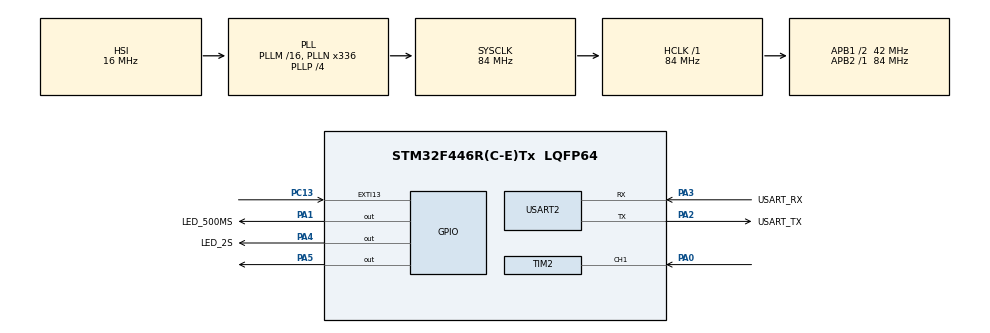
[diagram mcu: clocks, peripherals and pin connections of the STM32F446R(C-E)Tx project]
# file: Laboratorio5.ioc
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Mcu.Family=STM32F4
Mcu.Name=STM32F446R(C-E)Tx
Mcu.Package=LQFP64
NUCLEO-F446RE.BUTTON=1
NUCLEO-F446RE.LD1=true
NVIC.EXTI15_10_IRQn=true\:0\:0\:false\:false\:true\:false\:true\:true
NVIC.PriorityGroup=NVIC_PRIORITYGROUP_0
NVIC.TIM2_IRQn=true\:0\:0\:false\:false\:true\:true\:true\:true
NVIC.TIM3_IRQn=true\:0\:0\:false\:false\:true\:true\:true\:true
NVIC.TIM4_IRQn=true\:0\:0\:false\:false\:true\:true\:true\:true
PA0-WKUP.Signal=S_TIM2_CH1_ETR
PA1.GPIO_Label=LED_500MS
PA1.Signal=GPIO_Output
PA13.GPIO_Label=TMS
PA13.Signal=SYS_JTMS-SWDIO
PA14.GPIO_Label=TCK
PA14.Signal=SYS_JTCK-SWCLK
PA2.GPIO_Label=USART_TX
PA2.Mode=Asynchronous
PA2.Signal=USART2_TX
PA3.GPIO_Label=USART_RX
PA3.Mode=Asynchronous
PA3.Signal=USART2_RX
PA4.GPIO_Label=LED_2S
PA4.Signal=GPIO_Output
PA5.Signal=GPIO_Output
PB3.GPIO_Label=SWO
PB3.Signal=SYS_JTDO-SWO
PC13.Signal=GPXTI13
PC14-OSC32_IN.Signal=RCC_OSC32_IN
PC15-OSC32_OUT.Signal=RCC_OSC32_OUT
PH0-OSC_IN.Signal=RCC_OSC_IN
PH1-OSC_OUT.Signal=RCC_OSC_OUT
ProjectManager.HeapSize=0x200
ProjectManager.StackSize=0x400
ProjectManager.TargetToolchain=STM32CubeIDE
RCC.AHBFreq_Value=84000000
RCC.APB1CLKDivider=RCC_HCLK_DIV2
RCC.APB1Freq_Value=42000000
RCC.APB1TimFreq_Value=84000000
RCC.APB2Freq_Value=84000000
RCC.APB2TimFreq_Value=84000000
RCC.CortexFreq_Value=84000000
RCC.FLatency-AdvancedSettings=FLASH_LATENCY_2
RCC.HCLKFreq_Value=84000000
RCC.HSE_VALUE=8000000
RCC.HSI_VALUE=16000000
RCC.LSE_VALUE=32768
RCC.PLLN=336
RCC.PLLP=RCC_PLLP_DIV4
RCC.SYSCLKFreq_VALUE=84000000
RCC.SYSCLKSource=RCC_SYSCLKSOURCE_PLLCLK
RCC.USBFreq_Value=168000000
RCC.VCOOutputFreq_Value=336000000
SH.S_TIM2_CH1_ETR.0=TIM2_CH1,Input_Capture1_from_TI1
TIM2.Channel-Input_Capture1_from_TI1=TIM_CHANNEL_1
TIM3.Period=2499
TIM3.Prescaler=8399
TIM4.Period=9999
TIM4.Prescaler=8399
USART2.VirtualMode=VM_ASYNC
VP_NUCLEO-F446RE_VS_BSP_COMMON.Mode=COMMON
VP_TIM3_VS_ClockSourceINT.Mode=Internal
VP_TIM4_VS_ClockSourceINT.Mode=Internal
board=NUCLEO-F446RE

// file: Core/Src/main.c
/* USER CODE BEGIN Header */
/**
  ******************************************************************************
  * @file           : main.c
  * @brief          : Main program body
  ******************************************************************************
  * @attention
  *
  * Copyright (c) 2026 STMicroelectronics.
  * All rights reserved.
  *
  * This software is licensed under terms that can be found in the LICENSE file
  * in the root directory of this software component.
  * If no LICENSE file comes with this software, it is provided AS-IS.
  *
  ******************************************************************************
  */
/* USER CODE END Header */
#include "main.h"

/* USER CODE BEGIN Includes */
#include <stdio.h>
/* USER CODE END Includes */

/* USER CODE BEGIN PD */
#define TIMER_CLK_HZ  84000000UL   /* reloj de TIM2 con la configuración de clock */
/* USER CODE END PD */

TIM_HandleTypeDef htim2;
TIM_HandleTypeDef htim3;
TIM_HandleTypeDef htim4;

UART_HandleTypeDef huart2;

/* USER CODE BEGIN PV */
/* USER CODE BEGIN PV */
volatile uint32_t valor_anterior = 0;
volatile uint8_t primera_captura = 0;
volatile float frecuencia_hz = 0.0f;
volatile uint8_t nueva_frecuencia_lista = 0;

uint32_t ultimo_envio_uart = 0;
/* USER CODE END PV */

void SystemClock_Config(void);
static void MX_GPIO_Init(void);
static void MX_TIM2_Init(void);
static void MX_USART2_UART_Init(void);
static void MX_TIM3_Init(void);
static void MX_TIM4_Init(void);

/* USER CODE BEGIN 0 */
void HAL_TIM_IC_CaptureCallback(TIM_HandleTypeDef *htim)
{
    if (htim->Instance == TIM2 && htim->Channel == HAL_TIM_ACTIVE_CHANNEL_1)
    {
        uint32_t valor_actual = HAL_TIM_ReadCapturedValue(htim, TIM_CHANNEL_1);

        if (!primera_captura)
        {
            /* primera captura: solo guardamos referencia, todavía no hay período */
            valor_anterior  = valor_actual;
            primera_captura = 1;
        }
        else
        {
            uint32_t diferencia;
            if (valor_actual > valor_anterior)
            {
                diferencia = valor_actual - valor_anterior;
            }
            else
            {
                /* el contador de 32 bits dio la vuelta (overflow) */
                diferencia = (0xFFFFFFFFu - valor_anterior) + valor_actual + 1u;
            }

            if (diferencia > 0)
            {
                frecuencia_hz = (float)TIMER_CLK_HZ / (float)diferencia;
                nueva_frecuencia_lista = 1;
            }
            valor_anterior = valor_actual;
        }
    }
}
void HAL_TIM_PeriodElapsedCallback(TIM_HandleTypeDef *htim)
{
    if (htim->Instance == TIM3)
    {
        HAL_GPIO_TogglePin(LED_500MS_GPIO_Port, LED_500MS_Pin);
    }
    else if (htim->Instance == TIM4)
    {
        HAL_GPIO_TogglePin(LED_2S_GPIO_Port, LED_2S_Pin);
    }
}
/* USER CODE END 0 */

int main(void)
{

  /* MCU Configuration--------------------------------------------------------*/

  /* Reset of all peripherals, Initializes the Flash interface and the Systick. */
  HAL_Init();

  /* Configure the system clock */
  SystemClock_Config();

  /* Initialize all configured peripherals */
  MX_GPIO_Init();
  MX_TIM2_Init();
  MX_USART2_UART_Init();
  MX_TIM3_Init();
  MX_TIM4_Init();
  /* USER CODE BEGIN 2 */
  const char mensaje_inicio[] =
      "UART funcionando correctamente\r\n";

  HAL_UART_Transmit(
      &huart2,
      (uint8_t *)mensaje_inicio,
      sizeof(mensaje_inicio) - 1,
      100U
  );
  HAL_TIM_Base_Start_IT(&htim3);
  HAL_TIM_Base_Start_IT(&htim4);
  /* USER CODE END 2 */

  /* Initialize leds */
  BSP_LED_Init(LED2);

  /* Initialize USER push-button, will be used to trigger an interrupt each time it's pressed.*/
  BSP_PB_Init(BUTTON_USER, BUTTON_MODE_EXTI);

  /* Infinite loop */
  while (1)
  {

    /* USER CODE BEGIN 3 */
	  if (nueva_frecuencia_lista &&
	          (HAL_GetTick() - ultimo_envio_uart >= 500U))
	      {
	          float frecuencia_copia;

	          __disable_irq();
	          frecuencia_copia = frecuencia_hz;
	          nueva_frecuencia_lista = 0;
	          __enable_irq();

	          ultimo_envio_uart = HAL_GetTick();

	          uint32_t frecuencia_entera =
	              (uint32_t)(frecuencia_copia + 0.5f);

	          char mensaje[64];

	          int longitud = snprintf(
	              mensaje,
	              sizeof(mensaje),
	              "Frecuencia: %lu Hz\r\n",
	              (unsigned long)frecuencia_entera
	          );

	          if (longitud > 0)
	          {
	              HAL_UART_Transmit(
	                  &huart2,
	                  (uint8_t *)mensaje,
	                  (uint16_t)longitud,
	                  100U
	              );
	          }
	      }
  }
  /* USER CODE END 3 */
}

void SystemClock_Config(void)
{
  RCC_OscInitTypeDef RCC_OscInitStruct = {0};
  RCC_ClkInitTypeDef RCC_ClkInitStruct = {0};

  /** Configure the main internal regulator output voltage
  */
  __HAL_RCC_PWR_CLK_ENABLE();
  __HAL_PWR_VOLTAGESCALING_CONFIG(PWR_REGULATOR_VOLTAGE_SCALE3);

  /** Initializes the RCC Oscillators according to the specified parameters
  * in the RCC_OscInitTypeDef structure.
  */
  RCC_OscInitStruct.OscillatorType = RCC_OSCILLATORTYPE_HSI;
  RCC_OscInitStruct.HSIState = RCC_HSI_ON;
  RCC_OscInitStruct.HSICalibrationValue = RCC_HSICALIBRATION_DEFAULT;
  RCC_OscInitStruct.PLL.PLLState = RCC_PLL_ON;
  RCC_OscInitStruct.PLL.PLLSource = RCC_PLLSOURCE_HSI;
  RCC_OscInitStruct.PLL.PLLM = 16;
  RCC_OscInitStruct.PLL.PLLN = 336;
  RCC_OscInitStruct.PLL.PLLP = RCC_PLLP_DIV4;
  RCC_OscInitStruct.PLL.PLLQ = 2;
  RCC_OscInitStruct.PLL.PLLR = 2;
  if (HAL_RCC_OscConfig(&RCC_OscInitStruct) != HAL_OK)
  {
    Error_Handler();
  }

  /** Initializes the CPU, AHB and APB buses clocks
  */
  RCC_ClkInitStruct.ClockType = RCC_CLOCKTYPE_HCLK|RCC_CLOCKTYPE_SYSCLK
                              |RCC_CLOCKTYPE_PCLK1|RCC_CLOCKTYPE_PCLK2;
  RCC_ClkInitStruct.SYSCLKSource = RCC_SYSCLKSOURCE_PLLCLK;
  RCC_ClkInitStruct.AHBCLKDivider = RCC_SYSCLK_DIV1;
  RCC_ClkInitStruct.APB1CLKDivider = RCC_HCLK_DIV2;
  RCC_ClkInitStruct.APB2CLKDivider = RCC_HCLK_DIV1;

  if (HAL_RCC_ClockConfig(&RCC_ClkInitStruct, FLASH_LATENCY_2) != HAL_OK)
  {
    Error_Handler();
  }
}

static void MX_TIM2_Init(void)
{

  TIM_MasterConfigTypeDef sMasterConfig = {0};
  TIM_IC_InitTypeDef sConfigIC = {0};

  htim2.Instance = TIM2;
  htim2.Init.Prescaler = 0;
  htim2.Init.CounterMode = TIM_COUNTERMODE_UP;
  htim2.Init.Period = 4294967295;
  htim2.Init.ClockDivision = TIM_CLOCKDIVISION_DIV1;
  htim2.Init.AutoReloadPreload = TIM_AUTORELOAD_PRELOAD_DISABLE;
  if (HAL_TIM_IC_Init(&htim2) != HAL_OK)
  {
    Error_Handler();
  }
  sMasterConfig.MasterOutputTrigger = TIM_TRGO_RESET;
  sMasterConfig.MasterSlaveMode = TIM_MASTERSLAVEMODE_DISABLE;
  if (HAL_TIMEx_MasterConfigSynchronization(&htim2, &sMasterConfig) != HAL_OK)
  {
    Error_Handler();
  }
  sConfigIC.ICPolarity = TIM_INPUTCHANNELPOLARITY_RISING;
  sConfigIC.ICSelection = TIM_ICSELECTION_DIRECTTI;
  sConfigIC.ICPrescaler = TIM_ICPSC_DIV1;
  sConfigIC.ICFilter = 0;
  if (HAL_TIM_IC_ConfigChannel(&htim2, &sConfigIC, TIM_CHANNEL_1) != HAL_OK)
  {
    Error_Handler();
  }

}

static void MX_TIM3_Init(void)
{

  TIM_ClockConfigTypeDef sClockSourceConfig = {0};
  TIM_MasterConfigTypeDef sMasterConfig = {0};

  htim3.Instance = TIM3;
  htim3.Init.Prescaler = 8399;
  htim3.Init.CounterMode = TIM_COUNTERMODE_UP;
  htim3.Init.Period = 2499;
  htim3.Init.ClockDivision = TIM_CLOCKDIVISION_DIV1;
  htim3.Init.AutoReloadPreload = TIM_AUTORELOAD_PRELOAD_DISABLE;
  if (HAL_TIM_Base_Init(&htim3) != HAL_OK)
  {
    Error_Handler();
  }
  sClockSourceConfig.ClockSource = TIM_CLOCKSOURCE_INTERNAL;
  if (HAL_TIM_ConfigClockSource(&htim3, &sClockSourceConfig) != HAL_OK)
  {
    Error_Handler();
  }
  sMasterConfig.MasterOutputTrigger = TIM_TRGO_RESET;
  sMasterConfig.MasterSlaveMode = TIM_MASTERSLAVEMODE_DISABLE;
  if (HAL_TIMEx_MasterConfigSynchronization(&htim3, &sMasterConfig) != HAL_OK)
  {
    Error_Handler();
  }

}

static void MX_TIM4_Init(void)
{

  TIM_ClockConfigTypeDef sClockSourceConfig = {0};
  TIM_MasterConfigTypeDef sMasterConfig = {0};

  htim4.Instance = TIM4;
  htim4.Init.Prescaler = 8399;
  htim4.Init.CounterMode = TIM_COUNTERMODE_UP;
  htim4.Init.Period = 9999;
  htim4.Init.ClockDivision = TIM_CLOCKDIVISION_DIV1;
  htim4.Init.AutoReloadPreload = TIM_AUTORELOAD_PRELOAD_DISABLE;
  if (HAL_TIM_Base_Init(&htim4) != HAL_OK)
  {
    Error_Handler();
  }
  sClockSourceConfig.ClockSource = TIM_CLOCKSOURCE_INTERNAL;
  if (HAL_TIM_ConfigClockSource(&htim4, &sClockSourceConfig) != HAL_OK)
  {
    Error_Handler();
  }
  sMasterConfig.MasterOutputTrigger = TIM_TRGO_RESET;
  sMasterConfig.MasterSlaveMode = TIM_MASTERSLAVEMODE_DISABLE;
  if (HAL_TIMEx_MasterConfigSynchronization(&htim4, &sMasterConfig) != HAL_OK)
  {
    Error_Handler();
  }

}

static void MX_USART2_UART_Init(void)
{

  huart2.Instance = USART2;
  huart2.Init.BaudRate = 115200;
  huart2.Init.WordLength = UART_WORDLENGTH_8B;
  huart2.Init.StopBits = UART_STOPBITS_1;
  huart2.Init.Parity = UART_PARITY_NONE;
  huart2.Init.Mode = UART_MODE_TX_RX;
  huart2.Init.HwFlowCtl = UART_HWCONTROL_NONE;
  huart2.Init.OverSampling = UART_OVERSAMPLING_16;
  if (HAL_UART_Init(&huart2) != HAL_OK)
  {
    Error_Handler();
  }

}

static void MX_GPIO_Init(void)
{
  GPIO_InitTypeDef GPIO_InitStruct = {0};

  /* GPIO Ports Clock Enable */
  __HAL_RCC_GPIOC_CLK_ENABLE();
  __HAL_RCC_GPIOH_CLK_ENABLE();
  __HAL_RCC_GPIOA_CLK_ENABLE();
  __HAL_RCC_GPIOB_CLK_ENABLE();

  /*Configure GPIO pin Output Level */
  HAL_GPIO_WritePin(GPIOA, LED_500MS_Pin|LED_2S_Pin, GPIO_PIN_RESET);

  /*Configure GPIO pins : LED_500MS_Pin LED_2S_Pin */
  GPIO_InitStruct.Pin = LED_500MS_Pin|LED_2S_Pin;
  GPIO_InitStruct.Mode = GPIO_MODE_OUTPUT_PP;
  GPIO_InitStruct.Pull = GPIO_NOPULL;
  GPIO_InitStruct.Speed = GPIO_SPEED_FREQ_LOW;
  HAL_GPIO_Init(GPIOA, &GPIO_InitStruct);

}

void Error_Handler(void)
{
  __disable_irq();
  while (1)
  {
  }
}
